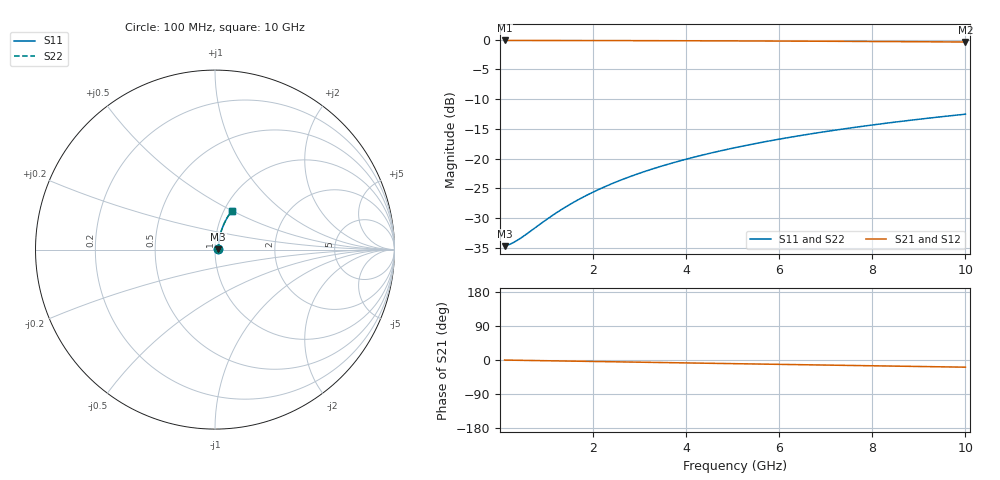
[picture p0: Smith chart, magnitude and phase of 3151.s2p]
# Hz S RI R 50.00
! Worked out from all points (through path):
!   100 points, 100 MHz to 10 GHz, reference 50 ohm
!   highest |S21| = -0.16 dB at 100 MHz (marker M1); lowest = -0.4 dB at 10 GHz (marker M2)
!   group delay of S21, straight-line fit = 5.27 ps
!   lowest |S11| = -34.7 dB at 100 MHz (marker M3), VSWR 1.04, Z = 51.9 + j0.247 ohm
!   |S11| at or under -10 dB: start of sweep to end of sweep
!   |S22| runs from -34.7 to -12.5 dB; largest |S21 - S12| = 0
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1e8  0.0182 0.00238  0.9818 -0.0033  0.9818 -0.0033  0.0182 0.00238
2e8  0.0184 0.00475  0.9816 -0.00661  0.9816 -0.00661  0.0184 0.00475
3e8  0.0185 0.00713  0.9815 -0.00991  0.9815 -0.00991  0.0185 0.00713
4e8  0.0186 0.0095  0.9814 -0.0132  0.9814 -0.0132  0.0186 0.0095
6e8  0.0189 0.0142  0.9811 -0.0198  0.9811 -0.0198  0.0189 0.0142
1e9  0.0196 0.0237  0.9804 -0.033  0.9804 -0.033  0.0196 0.0237
1.2e9  0.02 0.0284  0.98 -0.0396  0.98 -0.0396  0.02 0.0284
1.5e9  0.0207 0.0355  0.9792 -0.0494  0.9792 -0.0494  0.0207 0.0355
1.8e9  0.0216 0.0426  0.9783 -0.0593  0.9783 -0.0593  0.0216 0.0426
2.1e9  0.0226 0.0496  0.9772 -0.0691  0.9772 -0.0691  0.0226 0.0496
2.5e9  0.0241 0.0589  0.9756 -0.0821  0.9756 -0.0821  0.0241 0.0589
2.9e9  0.0259 0.0682  0.9737 -0.0951  0.9737 -0.0951  0.0259 0.0682
3.4e9  0.0285 0.0797  0.971 -0.1113  0.971 -0.1113  0.0285 0.0797
3.8e9  0.0308 0.0889  0.9686 -0.1242  0.9686 -0.1242  0.0308 0.0889
4.2e9  0.0333 0.0979  0.9659 -0.1369  0.9659 -0.1369  0.0333 0.0979
4.6e9  0.0361 0.1069  0.9629 -0.1496  0.9629 -0.1496  0.0361 0.1069
5.1e9  0.0399 0.118  0.9589 -0.1654  0.9589 -0.1654  0.0399 0.118
5.9e9  0.0468 0.1353  0.9517 -0.1902  0.9517 -0.1902  0.0468 0.1353
6.7e9  0.0545 0.1523  0.9435 -0.2146  0.9435 -0.2146  0.0545 0.1523
7.5e9  0.063 0.1686  0.9345 -0.2384  0.9345 -0.2384  0.063 0.1686
8.4e9  0.0735 0.1864  0.9233 -0.2646  0.9233 -0.2646  0.0735 0.1864
1e10  0.0945 0.2161  0.901 -0.3093  0.901 -0.3093  0.0945 0.2161
